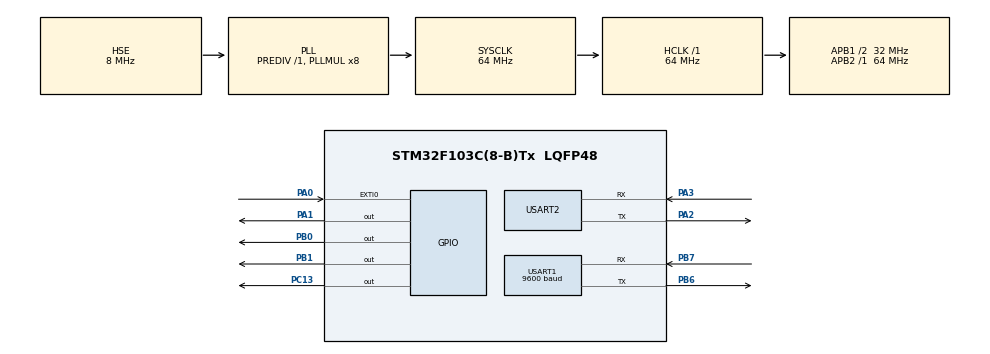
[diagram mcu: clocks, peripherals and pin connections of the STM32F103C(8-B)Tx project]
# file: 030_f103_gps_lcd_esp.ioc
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Mcu.Family=STM32F1
Mcu.Name=STM32F103C(8-B)Tx
Mcu.Package=LQFP48
NVIC.EXTI0_IRQn=true\:1\:0\:true\:false\:true\:true\:true\:true
NVIC.PriorityGroup=NVIC_PRIORITYGROUP_4
NVIC.USART1_IRQn=true\:0\:0\:true\:false\:true\:true\:true\:true
PA0-WKUP.GPIO_ModeDefaultEXTI=GPIO_MODE_IT_RISING_FALLING
PA0-WKUP.GPIO_PuPd=GPIO_PULLUP
PA0-WKUP.Signal=GPXTI0
PA1.Signal=GPIO_Output
PA13.Mode=Serial_Wire
PA13.Signal=SYS_JTMS-SWDIO
PA14.Mode=Serial_Wire
PA14.Signal=SYS_JTCK-SWCLK
PA2.Mode=Asynchronous
PA2.Signal=USART2_TX
PA3.Mode=Asynchronous
PA3.Signal=USART2_RX
PB0.GPIO_PuPd=GPIO_PULLUP
PB0.Signal=GPIO_Output
PB1.GPIO_PuPd=GPIO_PULLUP
PB1.Signal=GPIO_Output
PB6.Mode=Asynchronous
PB6.Signal=USART1_TX
PB7.Mode=Asynchronous
PB7.Signal=USART1_RX
PC13-TAMPER-RTC.PinState=GPIO_PIN_SET
PC13-TAMPER-RTC.Signal=GPIO_Output
PD0-OSC_IN.Mode=HSE-External-Oscillator
PD0-OSC_IN.Signal=RCC_OSC_IN
PD1-OSC_OUT.Mode=HSE-External-Oscillator
PD1-OSC_OUT.Signal=RCC_OSC_OUT
ProjectManager.HeapSize=0x200
ProjectManager.StackSize=0x400
ProjectManager.TargetToolchain=STM32CubeIDE
RCC.AHBFreq_Value=64000000
RCC.APB1CLKDivider=RCC_HCLK_DIV2
RCC.APB1Freq_Value=32000000
RCC.APB1TimFreq_Value=64000000
RCC.APB2Freq_Value=64000000
RCC.APB2TimFreq_Value=64000000
RCC.HCLKFreq_Value=64000000
RCC.PLLMUL=RCC_PLL_MUL8
RCC.PLLSourceVirtual=RCC_PLLSOURCE_HSE
RCC.SYSCLKFreq_VALUE=64000000
RCC.SYSCLKSource=RCC_SYSCLKSOURCE_PLLCLK
RCC.USBFreq_Value=64000000
USART1.BaudRate=9600
USART1.VirtualMode=VM_ASYNC
USART2.VirtualMode=VM_ASYNC
board=custom

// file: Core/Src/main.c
/* USER CODE BEGIN Header */
/**
 ******************************************************************************
 * @file           : main.c
 * @brief          : Main program body
 ******************************************************************************
 * @attention
 *
 * Copyright (c) 2023 STMicroelectronics.
 * All rights reserved.
 *
 * This software is licensed under terms that can be found in the LICENSE file
 * in the root directory of this software component.
 * If no LICENSE file comes with this software, it is provided AS-IS.
 *
 ******************************************************************************
 */
/* USER CODE END Header */
#include "main.h"

/* USER CODE BEGIN Includes */
#include "UartRingbuffer_multi.h"
#include "SIM.h"
#include "NMEA.h"
#include <stdio.h>
#include <string.h>
#include <stdbool.h>
/* USER CODE END Includes */

/* USER CODE BEGIN PD */
typedef enum
{
	EMERGENCY5S = 0x00u,
    EMERGENCY10S = 0x01u,
	NOMERGENCY = 0xFF
}Emergency_Enum_t;

/* USER CODE END PD */

/* USER CODE BEGIN PM */
#define TIMEDURATION10s     15000
#define TIMEDURATION5S      5000
/* USER CODE END PM */

UART_HandleTypeDef huart1;
UART_HandleTypeDef huart2;

/* USER CODE BEGIN PV */
#define gps_uart &huart1 // gps_uart

char GGA[100];
GPSSTRUCT gpsData = {0};
int flagGGA = 0, flagRMC = 0;
volatile bool trigger1 = false;
volatile uint32_t timeDuration = 0;

volatile Emergency_Enum_t currentEmergency = NOMERGENCY;
volatile bool flagEmergency10s = false;
volatile bool flagEmergency5s = false;
volatile bool flag = false;
uint8_t emergency = 0;
float location_storage1 = 0.0;
float location_storage2 = 0.0;
/* USER CODE END PV */

void SystemClock_Config(void);
static void MX_GPIO_Init(void);
static void MX_USART1_UART_Init(void);
static void MX_USART2_UART_Init(void);
/* USER CODE BEGIN PFP */
void led_on(void)
{
	HAL_GPIO_WritePin(GPIOC, GPIO_PIN_13, GPIO_PIN_SET);
}
void led_off(void)
{
	HAL_GPIO_WritePin(GPIOC, GPIO_PIN_13, GPIO_PIN_RESET);
}
/* USER CODE END PFP */

/* USER CODE BEGIN 0 */
__weak void HAL_GPIO_EXTI_Callback(uint16_t GPIO_Pin)
{
  /* Prevent unused argument(s) compilation warning */
  UNUSED(GPIO_Pin);
  /* NOTE: This function Should not be modified, when the callback is needed,
           the HAL_GPIO_EXTI_Callback could be implemented in the user file
   */
	if(GPIO_Pin == GPIO_PIN_0)
	{
		if (HAL_GPIO_ReadPin(GPIOA, GPIO_PIN_0) == GPIO_PIN_SET)
		{
			trigger1 = false;
			HAL_GPIO_WritePin(GPIOB, GPIO_PIN_0, GPIO_PIN_RESET);
			HAL_GPIO_WritePin(GPIOB, GPIO_PIN_1, GPIO_PIN_RESET);
		}
		else
		{
			trigger1 = true;
			HAL_GPIO_WritePin(GPIOB, GPIO_PIN_0, GPIO_PIN_SET);
			HAL_GPIO_WritePin(GPIOB, GPIO_PIN_1, GPIO_PIN_SET);
		}
	}
	else if(GPIO_Pin == GPIO_PIN_1)
	{
//		trigger2 = true;
	}
}
/* USER CODE END 0 */

int main(void)
{

  /* MCU Configuration--------------------------------------------------------*/

  /* Reset of all peripherals, Initializes the Flash interface and the Systick. */
  HAL_Init();

  /* Configure the system clock */
  SystemClock_Config();

  /* Initialize all configured peripherals */
  MX_GPIO_Init();
  MX_USART1_UART_Init();
  MX_USART2_UART_Init();
  /* USER CODE BEGIN 2 */
	Ringbuf_init();
	HAL_Delay(500);

  /* USER CODE END 2 */

  /* Infinite loop */
  /* USER CODE BEGIN WHILE */
	while (1)
	{
		HAL_Delay(100);
    /* USER CODE END WHILE */

    /* USER CODE BEGIN 3 */
		if (Wait_for("GGA", gps_uart) == 1) {
			Copy_upto("*", GGA, gps_uart);
			if (decodeGGA(GGA, &gpsData.ggastruct) == 0) {
				flagGGA = 2;  // 2 indicates the data is valid
//				led_on();
			} else {
				flagGGA = 1;  // 1 indicates the data is invalid
//				led_off();
			}
		}
		if (trigger1 == true)
		{
			HAL_GPIO_WritePin(GPIOB, GPIO_PIN_0, GPIO_PIN_SET);
			HAL_GPIO_WritePin(GPIOB, GPIO_PIN_1, GPIO_PIN_SET);
			if (flag == false)
			{
				timeDuration = HAL_GetTick();
				flag = true;
			}
			if (HAL_GetTick() - timeDuration > TIMEDURATION10s)
			{
				flagEmergency10s = true;
				currentEmergency = EMERGENCY10S;
			}
			else if(HAL_GetTick() - timeDuration > TIMEDURATION5S)
			{
				if (currentEmergency== EMERGENCY5S)
				{
					flagEmergency5s = true;
				}
				else
				{
					flagEmergency10s = true;
				}

			}
			if (((location_storage1 != 0)|| (flagGGA == 2)) && ((flagEmergency5s == true) || (flagEmergency10s == true) || (currentEmergency == EMERGENCY10S) || (currentEmergency == EMERGENCY5S)))
//			if ((((flagEmergency5s == true) || flagEmergency10s == true)) || (currentEmergency == EMERGENCY10S) || (currentEmergency == EMERGENCY5S))
			{
				emergency = 1;
				if(((flagEmergency5s == true) && (gpsData.ggastruct.lcation.test1 != 0)) || (location_storage1 != 0))
//				if((flagEmergency5s == true))
				{
					if ((gpsData.ggastruct.lcation.test1 != 0) && (gpsData.ggastruct.lcation.test2 != 0))
					{
						location_storage1 = gpsData.ggastruct.lcation.test1;
						location_storage2 = gpsData.ggastruct.lcation.test2;
					}
					Sim_SendLocation(location_storage1, location_storage2);
					HAL_Delay(500);
					Sim_SendLocationStudent(location_storage1, location_storage2);
					flagEmergency5s =false;
				}
				else if(((flagEmergency10s == true) && (gpsData.ggastruct.lcation.test1 != 0)) || (location_storage1 != 0))
//				else if((flagEmergency10s == true))
				{
					if ((gpsData.ggastruct.lcation.test1 != 0) && (gpsData.ggastruct.lcation.test2 != 0))
					{
						location_storage1 = gpsData.ggastruct.lcation.test1;
						location_storage2 = gpsData.ggastruct.lcation.test2;
					}
					Sim_SendLocationDangerous(location_storage1, location_storage2);
					HAL_Delay(500);
					Sim_SendLocationDangerousStudent(location_storage1, location_storage2);
					flagEmergency10s = false;
					flag = false;
				}
				if ((gpsData.ggastruct.lcation.test1 != 0) || (location_storage1 != 0))
				{
					if ((gpsData.ggastruct.lcation.test1 != 0) && (gpsData.ggastruct.lcation.test2 != 0))
					{
						location_storage1 = gpsData.ggastruct.lcation.test1;
						location_storage2 = gpsData.ggastruct.lcation.test2;
					}
					HAL_Delay(500);
					Sim_httpPost(location_storage1, location_storage2,emergency);
					emergency = 0;
				}
			}
//			else if ((flagGGA == 2) && (currentEmergency == NOMERGENCY) && (gpsData.ggastruct.lcation.test1 != 0))
			else if (((currentEmergency == NOMERGENCY) && (flagGGA == 2)) || (location_storage1 != 0))
			{
				emergency = 1;
				if ((gpsData.ggastruct.lcation.test1 != 0) && (gpsData.ggastruct.lcation.test2 != 0))
				{
					location_storage1 = gpsData.ggastruct.lcation.test1;
					location_storage2 = gpsData.ggastruct.lcation.test2;
				}
				Sim_SendLocation(location_storage1, location_storage2);
				HAL_Delay(500);
				Sim_SendLocationStudent(location_storage1, location_storage2);
				HAL_Delay(500);
				Sim_httpPost(location_storage1, location_storage2,emergency);
			    emergency = 0;
			    currentEmergency = EMERGENCY5S;
			}
		}
		else
		{
			if (gpsData.ggastruct.lcation.test1 != 0)
			{
				location_storage1 = gpsData.ggastruct.lcation.test1;
				location_storage2 = gpsData.ggastruct.lcation.test2;
			}
			currentEmergency = NOMERGENCY;
			flagEmergency5s = false;
			flagEmergency10s = false;
			HAL_GPIO_WritePin(GPIOB, GPIO_PIN_0, GPIO_PIN_RESET);
			HAL_GPIO_WritePin(GPIOB, GPIO_PIN_1, GPIO_PIN_RESET);
			if (((flagGGA == 2) && (gpsData.ggastruct.lcation.test1 != 0)) || (location_storage1 != 0))
			{
				Sim_httpPost(location_storage1, location_storage2,emergency);

			}
		}
	}
  /* USER CODE END 3 */
}

void SystemClock_Config(void)
{
  RCC_OscInitTypeDef RCC_OscInitStruct = {0};
  RCC_ClkInitTypeDef RCC_ClkInitStruct = {0};

  /** Initializes the RCC Oscillators according to the specified parameters
  * in the RCC_OscInitTypeDef structure.
  */
  RCC_OscInitStruct.OscillatorType = RCC_OSCILLATORTYPE_HSE;
  RCC_OscInitStruct.HSEState = RCC_HSE_ON;
  RCC_OscInitStruct.HSEPredivValue = RCC_HSE_PREDIV_DIV1;
  RCC_OscInitStruct.HSIState = RCC_HSI_ON;
  RCC_OscInitStruct.PLL.PLLState = RCC_PLL_ON;
  RCC_OscInitStruct.PLL.PLLSource = RCC_PLLSOURCE_HSE;
  RCC_OscInitStruct.PLL.PLLMUL = RCC_PLL_MUL8;
  if (HAL_RCC_OscConfig(&RCC_OscInitStruct) != HAL_OK)
  {
    Error_Handler();
  }

  /** Initializes the CPU, AHB and APB buses clocks
  */
  RCC_ClkInitStruct.ClockType = RCC_CLOCKTYPE_HCLK|RCC_CLOCKTYPE_SYSCLK
                              |RCC_CLOCKTYPE_PCLK1|RCC_CLOCKTYPE_PCLK2;
  RCC_ClkInitStruct.SYSCLKSource = RCC_SYSCLKSOURCE_PLLCLK;
  RCC_ClkInitStruct.AHBCLKDivider = RCC_SYSCLK_DIV1;
  RCC_ClkInitStruct.APB1CLKDivider = RCC_HCLK_DIV2;
  RCC_ClkInitStruct.APB2CLKDivider = RCC_HCLK_DIV1;

  if (HAL_RCC_ClockConfig(&RCC_ClkInitStruct, FLASH_LATENCY_2) != HAL_OK)
  {
    Error_Handler();
  }
}

static void MX_USART1_UART_Init(void)
{

  huart1.Instance = USART1;
  huart1.Init.BaudRate = 9600;
  huart1.Init.WordLength = UART_WORDLENGTH_8B;
  huart1.Init.StopBits = UART_STOPBITS_1;
  huart1.Init.Parity = UART_PARITY_NONE;
  huart1.Init.Mode = UART_MODE_TX_RX;
  huart1.Init.HwFlowCtl = UART_HWCONTROL_NONE;
  huart1.Init.OverSampling = UART_OVERSAMPLING_16;
  if (HAL_UART_Init(&huart1) != HAL_OK)
  {
    Error_Handler();
  }

}

static void MX_USART2_UART_Init(void)
{

  huart2.Instance = USART2;
  huart2.Init.BaudRate = 115200;
  huart2.Init.WordLength = UART_WORDLENGTH_8B;
  huart2.Init.StopBits = UART_STOPBITS_1;
  huart2.Init.Parity = UART_PARITY_NONE;
  huart2.Init.Mode = UART_MODE_TX_RX;
  huart2.Init.HwFlowCtl = UART_HWCONTROL_NONE;
  huart2.Init.OverSampling = UART_OVERSAMPLING_16;
  if (HAL_UART_Init(&huart2) != HAL_OK)
  {
    Error_Handler();
  }

}

static void MX_GPIO_Init(void)
{
  GPIO_InitTypeDef GPIO_InitStruct = {0};

  /* GPIO Ports Clock Enable */
  __HAL_RCC_GPIOC_CLK_ENABLE();
  __HAL_RCC_GPIOD_CLK_ENABLE();
  __HAL_RCC_GPIOA_CLK_ENABLE();
  __HAL_RCC_GPIOB_CLK_ENABLE();

  /*Configure GPIO pin Output Level */
  HAL_GPIO_WritePin(GPIOC, GPIO_PIN_13, GPIO_PIN_SET);

  /*Configure GPIO pin Output Level */
  HAL_GPIO_WritePin(GPIOA, GPIO_PIN_1, GPIO_PIN_RESET);

  /*Configure GPIO pin Output Level */
  HAL_GPIO_WritePin(GPIOB, GPIO_PIN_0|GPIO_PIN_1, GPIO_PIN_RESET);

  /*Configure GPIO pin : PC13 */
  GPIO_InitStruct.Pin = GPIO_PIN_13;
  GPIO_InitStruct.Mode = GPIO_MODE_OUTPUT_PP;
  GPIO_InitStruct.Pull = GPIO_NOPULL;
  GPIO_InitStruct.Speed = GPIO_SPEED_FREQ_LOW;
  HAL_GPIO_Init(GPIOC, &GPIO_InitStruct);

  /*Configure GPIO pin : PA0 */
  GPIO_InitStruct.Pin = GPIO_PIN_0;
  GPIO_InitStruct.Mode = GPIO_MODE_IT_RISING_FALLING;
  GPIO_InitStruct.Pull = GPIO_PULLUP;
  HAL_GPIO_Init(GPIOA, &GPIO_InitStruct);

  /*Configure GPIO pin : PA1 */
  GPIO_InitStruct.Pin = GPIO_PIN_1;
  GPIO_InitStruct.Mode = GPIO_MODE_OUTPUT_PP;
  GPIO_InitStruct.Pull = GPIO_NOPULL;
  GPIO_InitStruct.Speed = GPIO_SPEED_FREQ_LOW;
  HAL_GPIO_Init(GPIOA, &GPIO_InitStruct);

  /*Configure GPIO pins : PB0 PB1 */
  GPIO_InitStruct.Pin = GPIO_PIN_0|GPIO_PIN_1;
  GPIO_InitStruct.Mode = GPIO_MODE_OUTPUT_PP;
  GPIO_InitStruct.Pull = GPIO_PULLUP;
  GPIO_InitStruct.Speed = GPIO_SPEED_FREQ_LOW;
  HAL_GPIO_Init(GPIOB, &GPIO_InitStruct);

  /* EXTI interrupt init*/
  HAL_NVIC_SetPriority(EXTI0_IRQn, 1, 0);
  HAL_NVIC_EnableIRQ(EXTI0_IRQn);

}

void Error_Handler(void)
{
	__disable_irq();
	while (1) {
	}
}
